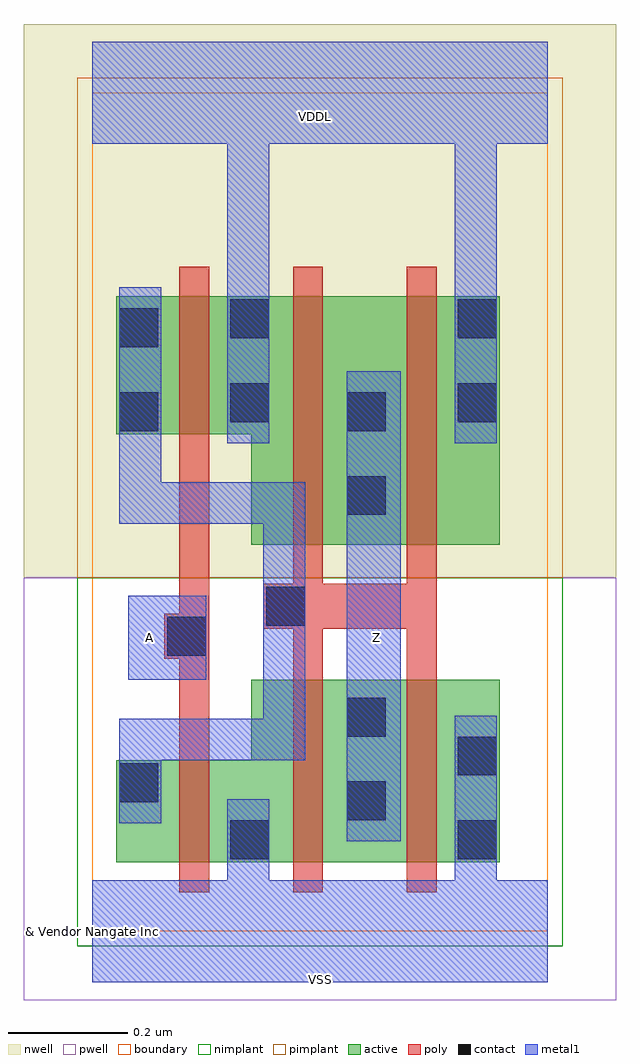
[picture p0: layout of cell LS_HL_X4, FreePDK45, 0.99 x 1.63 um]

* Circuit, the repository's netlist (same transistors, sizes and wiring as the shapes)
* 
* ******************************************************************************
* *                                                                            *
* *                   Copyright (C) 2004-2011, Nangate Inc.                    *
* *                           All rights reserved.                             *
* *                                                                            *
* * Nangate and the Nangate logo are trademarks of Nangate Inc.                *
* *                                                                            *
* * All trademarks, logos, software marks, and trade names (collectively the   *
* * "Marks") in this program are proprietary to Nangate or other respective    *
* * owners that have granted Nangate the right and license to use such Marks.  *
* * You are not permitted to use the Marks without the prior written consent   *
* * of Nangate or such third party that may own the Marks.                     *
* *                                                                            *
* * This file has been provided pursuant to a License Agreement containing     *
* * restrictions on its use. This file contains valuable trade secrets and     *
* * proprietary information of Nangate Inc., and is protected by U.S. and      *
* * international laws and/or treaties.                                        *
* *                                                                            *
* * The copyright notice(s) in this file does not indicate actual or intended  *
* * publication of this file.                                                  *
* *                                                                            *
* *     NGLibraryCreator, v2010.08-HR32-SP3-2010-08-05 - build 1009061800      *
* *                                                                            *
* ******************************************************************************
* 
* 
* Running on server08.nangate.com for user Giancarlo Franciscatto (gfr).
* Local time is now Thu, 6 Jan 2011, 19:45:47.
* Main process id is 3320.
*
********************************************************************************
*                                                                              *
* Cellname:   LS_HL_X4.                                                        *
*                                                                              *
* Technology: NCSU FreePDK 45nm.                                               *
* Format:     Cdl.                                                             *
*                                                                              *
* Written on server08.nangate.com for user Giancarlo Franciscatto (gfr)        *
* at 19:45:47 on Thu, 6 Jan 2011.                                              *
*                                                                              *
********************************************************************************
.SUBCKT LS_HL_X4 A Z VDDL VSS 
*.PININFO A:I Z:O VDDL:P VSS:G 
*.EQN Z=A
M_i_0 VSS A net_000 VSS NMOS_VTL W=0.170000U L=0.050000U
M_i_7 Z net_000 VSS VSS NMOS_VTL W=0.305000U L=0.050000U
M_i_14 VSS net_000 Z VSS NMOS_VTL W=0.305000U L=0.050000U
M_i_20 VDDL A net_000 VDDL PMOS_VTL W=0.230000U L=0.050000U
M_i_27 Z net_000 VDDL VDDL PMOS_VTL W=0.415000U L=0.050000U
M_i_34 VDDL net_000 Z VDDL PMOS_VTL W=0.415000U L=0.050000U
.ENDS 

********************************************************************************
*
* END
*
********************************************************************************

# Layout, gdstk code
import gdstk
lib = gdstk.Library(unit=1e-6, precision=1e-10)
def R(c, l, rs):  # rectangles x0, y0, x1, y1
    for r in rs: c.add(gdstk.rectangle(r[:2], r[2:], *l))
def P(c, l, *ps):  # polygons
    for p in ps: c.add(gdstk.Polygon(p, *l))
active = (1, 0)
pwell = (2, 0)
nwell = (3, 0)
nimplant = (4, 0)
pimplant = (5, 0)
poly = (9, 0)
contact = (10, 0)
metal1 = (11, 0)
boundary = (235, 0)

ls_hl_x4 = lib.new_cell('LS_HL_X4')
P(ls_hl_x4, active, [(0.04,0.115),(0.68,0.115),(0.68,0.42),(0.265,0.42),(0.265,0.285),(0.04,0.285)],
  [(0.04,0.83),(0.265,0.83),(0.265,0.645),(0.68,0.645),(0.68,1.06),(0.04,1.06)])
R(ls_hl_x4, pwell, [(-0.115,-0.115,0.875,0.59)])
R(ls_hl_x4, nwell, [(-0.115,0.59,0.875,1.515)])
R(ls_hl_x4, nimplant, [(-0.025,-0.025,0.785,0.59)])
R(ls_hl_x4, pimplant, [(-0.025,0.59,0.785,1.425)])
P(ls_hl_x4, poly, [(0.12,0.455),(0.145,0.455),(0.145,0.065),(0.195,0.065),(0.195,1.11),(0.145,1.11),(0.145,0.53),(0.12,0.53)],
  [(0.285,0.505),(0.335,0.505),(0.335,0.065),(0.385,0.065),(0.385,0.505),(0.525,0.505),(0.525,0.065),(0.575,0.065),(0.575,1.11),(0.525,1.11),(0.525,0.58),(0.385,0.58),(0.385,1.11),(0.335,1.11),(0.335,0.58),(0.285,0.58)])
R(ls_hl_x4, contact, [(0.23,0.12,0.295,0.185), (0.61,0.12,0.675,0.185), (0.425,0.185,0.49,0.25), (0.045,0.215,0.11,0.28), (0.61,0.26,0.675,0.325), (0.425,0.325,0.49,0.39), (0.125,0.46,0.19,0.525), (0.29,0.51,0.355,0.575), (0.425,0.695,0.49,0.76), (0.045,0.835,0.11,0.9), (0.425,0.835,0.49,0.9), (0.23,0.85,0.295,0.915), (0.61,0.85,0.675,0.915), (0.045,0.975,0.11,1.04), (0.23,0.99,0.295,1.055), (0.61,0.99,0.675,1.055)])
R(ls_hl_x4, metal1, [(0.425,0.15,0.515,0.935), (0.06,0.42,0.19,0.56)])
P(ls_hl_x4, metal1, [(0.045,0.68),(0.285,0.68),(0.285,0.355),(0.045,0.355),(0.045,0.18),(0.115,0.18),(0.115,0.285),(0.355,0.285),(0.355,0.75),(0.115,0.75),(0.115,1.075),(0.045,1.075)],
  [(0,-0.085),(0.76,-0.085),(0.76,0.085),(0.675,0.085),(0.675,0.36),(0.605,0.36),(0.605,0.085),(0.295,0.085),(0.295,0.22),(0.225,0.22),(0.225,0.085),(0,0.085)],
  [(0,1.315),(0.225,1.315),(0.225,0.815),(0.295,0.815),(0.295,1.315),(0.605,1.315),(0.605,0.815),(0.675,0.815),(0.675,1.315),(0.76,1.315),(0.76,1.485),(0,1.485)])
R(ls_hl_x4, boundary, [(0,0,0.76,1.4)])
ls_hl_x4.add(gdstk.Label('A', (0.095,0.49), layer=11, texttype=0))
ls_hl_x4.add(gdstk.Label('VDDL', (0.3725,1.36), layer=11, texttype=0))
ls_hl_x4.add(gdstk.Label('VSS', (0.38,-0.08), layer=11, texttype=0))
ls_hl_x4.add(gdstk.Label('Z', (0.475,0.49), layer=11, texttype=0))
ls_hl_x4.add(gdstk.Label('& Vendor Nangate Inc', (0,0), layer=63, texttype=63))
ls_hl_x4.add(gdstk.Label('& Product Open Cell Library', (0,0), layer=63, texttype=63))
ls_hl_x4.add(gdstk.Label('& Version 2010_12', (0,0), layer=63, texttype=63))
ls_hl_x4.add(gdstk.Label('& Instance LS_HL_X4', (0,0), layer=63, texttype=63))

lib.write_gds('LS_HL_X4.gds')
